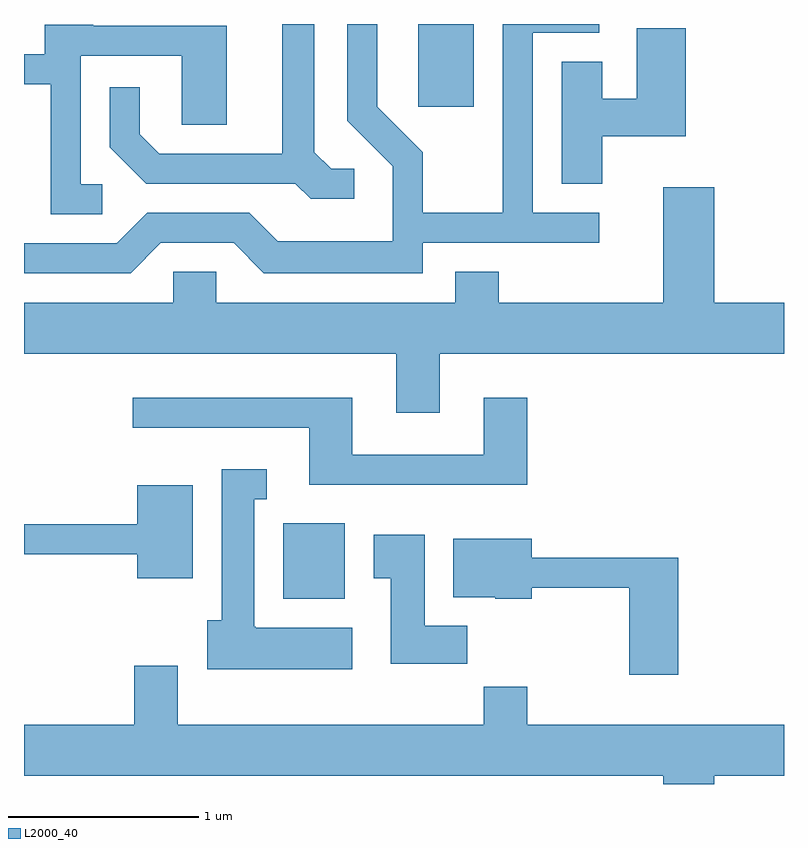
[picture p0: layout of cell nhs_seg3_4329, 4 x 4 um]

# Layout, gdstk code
import gdstk
lib = gdstk.Library(unit=1e-6, precision=1e-09)
def R(c, l, rs):  # rectangles x0, y0, x1, y1
    for r in rs: c.add(gdstk.rectangle(r[:2], r[2:], *l))
def P(c, l, *ps):  # polygons
    for p in ps: c.add(gdstk.Polygon(p, *l))
L2000_40 = (2000, 40)

nhs_seg3_4329 = lib.new_cell('nhs_seg3_4329')
R(nhs_seg3_4329, L2000_40, [(312.976,1206.866,313.299,1207.264), (313.686,1209.456,313.979,1209.892)])
P(nhs_seg3_4329, L2000_40, [(313.348,1209.129),(313.227,1209.129),(313.139,1209.217),(313.139,1209.892),(312.971,1209.892),(312.971,1209.209),(312.322,1209.209),(312.219,1209.312),(312.219,1209.558),(312.061,1209.558),(312.061,1209.244),(312.254,1209.051),(313.039,1209.051),(313.119,1208.971),(313.348,1208.971)],
  [(312.332,1208.741),(312.714,1208.741),(312.874,1208.581),(313.709,1208.581),(313.709,1208.741),(314.638,1208.741),(314.638,1208.899),(314.289,1208.899),(314.289,1209.846),(314.638,1209.846),(314.638,1209.892),(314.131,1209.892),(314.131,1208.899),(313.709,1208.899),(313.709,1209.217),(313.469,1209.457),(313.469,1209.892),(313.311,1209.892),(313.311,1209.384),(313.551,1209.144),(313.551,1208.749),(312.947,1208.749),(312.797,1208.899),(312.259,1208.899),(312.099,1208.739),(311.611,1208.739),(311.611,1208.581),(312.172,1208.581)],
  [(312.023,1209.049),(311.909,1209.049),(311.909,1209.726),(312.441,1209.726),(312.441,1209.361),(312.679,1209.361),(312.679,1209.884),(311.975,1209.884),(311.975,1209.889),(311.721,1209.889),(311.721,1209.734),(311.611,1209.734),(311.611,1209.576),(311.751,1209.576),(311.751,1208.891),(312.023,1208.891)],
  [(314.654,1209.301),(315.094,1209.301),(315.094,1209.869),(314.836,1209.869),(314.836,1209.499),(314.654,1209.499),(314.654,1209.694),(314.441,1209.694),(314.441,1209.051),(314.654,1209.051)],
  [(313.799,1208.156),(315.611,1208.156),(315.611,1208.424),(315.244,1208.424),(315.244,1209.034),(314.976,1209.034),(314.976,1208.424),(314.109,1208.424),(314.109,1208.589),(313.881,1208.589),(313.881,1208.424),(312.624,1208.424),(312.624,1208.589),(312.396,1208.589),(312.396,1208.424),(311.611,1208.424),(311.611,1208.156),(313.571,1208.156),(313.571,1207.846),(313.799,1207.846)],
  [(314.259,1207.924),(314.031,1207.924),(314.031,1207.624),(313.339,1207.624),(313.339,1207.924),(312.183,1207.924),(312.183,1207.766),(313.111,1207.766),(313.111,1207.466),(314.259,1207.466)],
  [(313.339,1206.714),(312.83,1206.714),(312.83,1206.72),(312.824,1206.72),(312.824,1207.391),(312.888,1207.391),(312.888,1207.549),(312.651,1207.549),(312.651,1206.754),(312.576,1206.754),(312.576,1206.496),(313.339,1206.496)],
  [(312.499,1207.464),(312.206,1207.464),(312.206,1207.259),(311.611,1207.259),(311.611,1207.101),(312.206,1207.101),(312.206,1206.976),(312.499,1206.976)],
  [(313.944,1206.724),(313.719,1206.724),(313.719,1207.204),(313.451,1207.204),(313.451,1206.976),(313.541,1206.976),(313.541,1206.526),(313.944,1206.526)],
  [(315.054,1207.084),(314.284,1207.084),(314.284,1207.184),(313.871,1207.184),(313.871,1206.876),(314.09,1206.876),(314.09,1206.866),(314.284,1206.866),(314.284,1206.926),(314.796,1206.926),(314.796,1206.466),(315.054,1206.466)],
  [(315.244,1205.936),(315.611,1205.936),(315.611,1206.204),(314.259,1206.204),(314.259,1206.404),(314.031,1206.404),(314.031,1206.204),(312.419,1206.204),(312.419,1206.514),(312.191,1206.514),(312.191,1206.204),(311.611,1206.204),(311.611,1205.936),(314.976,1205.936),(314.976,1205.892),(315.244,1205.892)])

lib.write_gds('nhs_seg3_4329.gds')
